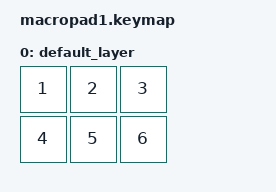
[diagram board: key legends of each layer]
// This file was generated from a template. Edit it to match your keyboard.
// See https://zmk.dev/docs/development/hardware-integration/new-shield for more instructions.

#include <behaviors.dtsi>
#include <dt-bindings/zmk/keys.h>

/ {
    keymap {
        compatible = "zmk,keymap";

        default_layer {
            bindings = <
                &kp N1 &kp N2 &kp N3
                &kp N4 &kp N5 &kp N6
            >;
        };
    };
};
